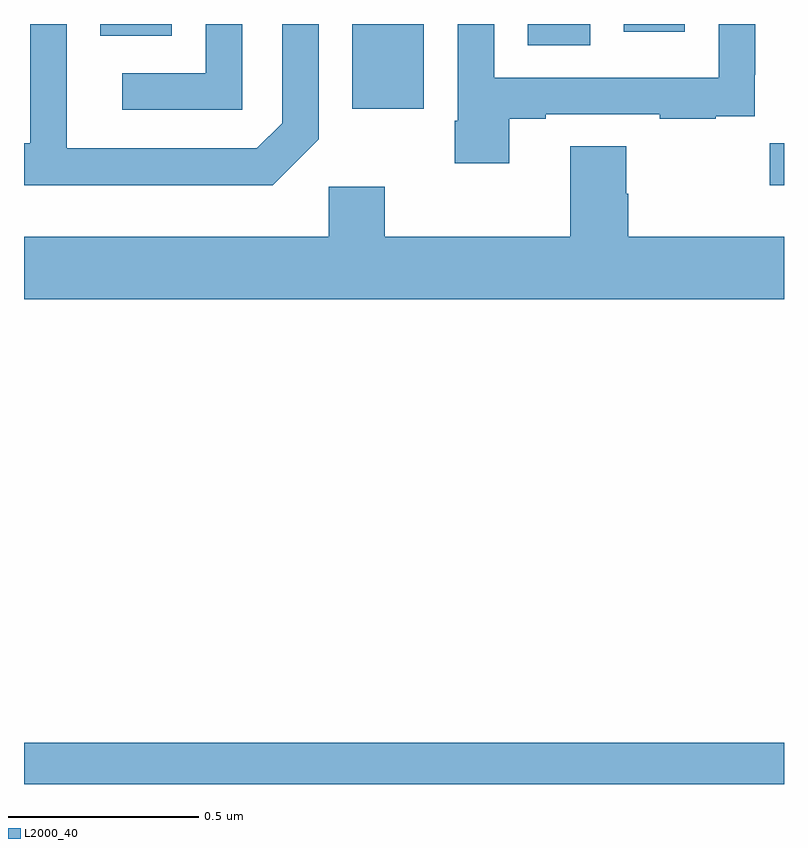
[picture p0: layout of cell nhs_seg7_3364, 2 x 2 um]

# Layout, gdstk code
import gdstk
lib = gdstk.Library(unit=1e-6, precision=1e-09)
def R(c, l, rs):  # rectangles x0, y0, x1, y1
    for r in rs: c.add(gdstk.rectangle(r[:2], r[2:], *l))
def P(c, l, *ps):  # polygons
    for p in ps: c.add(gdstk.Polygon(p, *l))
L2000_40 = (2000, 40)

nhs_seg7_3364 = lib.new_cell('nhs_seg7_3364')
R(nhs_seg7_3364, L2000_40, [(158,1006,160,1006.108), (159.963,1007.576,160,1007.686), (158.864,1007.777,159.052,1008), (159.326,1007.944,159.49,1008), (158.201,1007.969,158.389,1008), (159.578,1007.979,159.739,1008)])
P(nhs_seg7_3364, L2000_40, [(158.574,1008),(158.478,1008),(158.478,1007.871),(158.259,1007.871),(158.259,1007.775),(158.574,1007.775)],
  [(159.277,1007.751),(159.373,1007.751),(159.373,1007.763),(159.673,1007.763),(159.673,1007.751),(159.821,1007.751),(159.821,1007.757),(159.923,1007.757),(159.923,1007.866),(159.924,1007.866),(159.924,1008),(159.828,1008),(159.828,1007.859),(159.237,1007.859),(159.237,1008),(159.141,1008),(159.141,1007.746),(159.133,1007.746),(159.133,1007.634),(159.277,1007.634)],
  [(158.775,1007.697),(158.775,1008),(158.679,1008),(158.679,1007.739),(158.613,1007.673),(158.113,1007.673),(158.113,1007.873),(158.112,1007.873),(158.112,1008),(158.016,1008),(158.016,1007.686),(158,1007.686),(158,1007.576),(158.654,1007.576)],
  [(160,1007.44),(159.59,1007.44),(159.59,1007.553),(159.585,1007.553),(159.585,1007.678),(159.437,1007.678),(159.437,1007.44),(158.949,1007.44),(158.949,1007.572),(158.802,1007.572),(158.802,1007.44),(158,1007.44),(158,1007.276),(160,1007.276)])

lib.write_gds('nhs_seg7_3364.gds')
